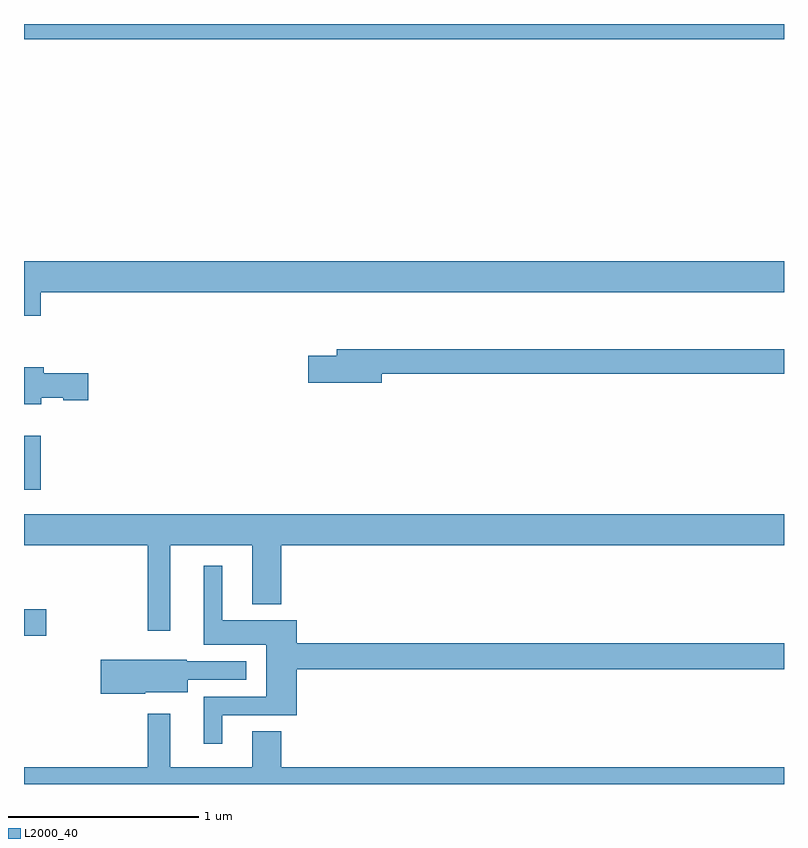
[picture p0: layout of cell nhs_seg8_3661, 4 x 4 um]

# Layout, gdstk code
import gdstk
lib = gdstk.Library(unit=1e-6, precision=1e-09)
def R(c, l, rs):  # rectangles x0, y0, x1, y1
    for r in rs: c.add(gdstk.rectangle(r[:2], r[2:], *l))
def P(c, l, *ps):  # polygons
    for p in ps: c.add(gdstk.Polygon(p, *l))
L2000_40 = (2000, 40)

nhs_seg8_3661 = lib.new_cell('nhs_seg8_3661')
R(nhs_seg8_3661, L2000_40, [(337,1126.679,337.117,1126.821), (337,1127.448,337.088,1127.734), (337,1129.82,341,1129.9)])
P(nhs_seg8_3661, L2000_40, [(337.088,1128.488),(341,1128.488),(341,1128.652),(337,1128.652),(337,1128.364),(337.088,1128.364)],
  [(338.884,1128.058),(341,1128.058),(341,1128.187),(338.645,1128.187),(338.645,1128.153),(338.496,1128.153),(338.496,1128.011),(338.884,1128.011)],
  [(337.09,1127.933),(337.206,1127.933),(337.206,1127.921),(337.339,1127.921),(337.339,1128.063),(337.103,1128.063),(337.103,1128.094),(337,1128.094),(337,1127.9),(337.09,1127.9)],
  [(337.771,1127.156),(338.201,1127.156),(338.201,1126.847),(338.354,1126.847),(338.354,1127.156),(341,1127.156),(341,1127.32),(337,1127.32),(337,1127.156),(337.65,1127.156),(337.65,1126.707),(337.771,1126.707)],
  [(338.044,1126.263),(338.435,1126.263),(338.435,1126.504),(341,1126.504),(341,1126.64),(338.435,1126.64),(338.435,1126.762),(338.044,1126.762),(338.044,1127.05),(337.946,1127.05),(337.946,1126.634),(338.276,1126.634),(338.276,1126.359),(337.946,1126.359),(337.946,1126.113),(338.044,1126.113)],
  [(337.638,1126.382),(337.861,1126.382),(337.861,1126.449),(338.17,1126.449),(338.17,1126.545),(337.857,1126.545),(337.857,1126.553),(337.404,1126.553),(337.404,1126.375),(337.638,1126.375)],
  [(341,1125.988),(338.354,1125.988),(338.354,1126.178),(338.201,1126.178),(338.201,1125.988),(337.771,1125.988),(337.771,1126.27),(337.65,1126.27),(337.65,1125.988),(337,1125.988),(337,1125.9),(341,1125.9)])

lib.write_gds('nhs_seg8_3661.gds')
